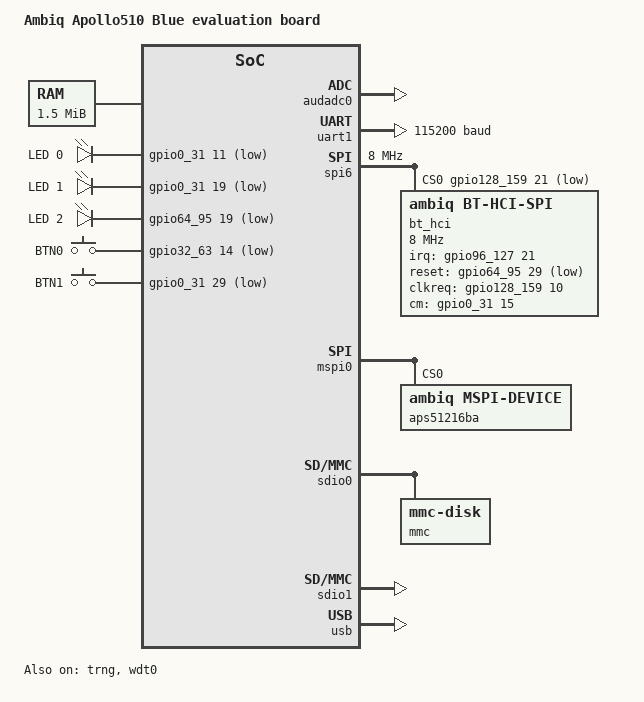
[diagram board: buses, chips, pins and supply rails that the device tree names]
/*****************************************************************************
 * SPDX-FileCopyrightText: 2025 Ambiq Micro Inc.
 *
 * SPDX-License-Identifier: Apache-2.0
 ****************************************************************************
 */

/dts-v1/;
#include <ambiq/ambiq_apollo510b.dtsi>
#include "apollo510b_evb-pinctrl.dtsi"
#include <zephyr/dt-bindings/input/input-event-codes.h>

/ {
	model = "Ambiq Apollo510 Blue evaluation board";
	compatible = "ambiq,apollo510b_evb";

	chosen {
		zephyr,itcm = &itcm;
		zephyr,dtcm = &dtcm;
		zephyr,sram = &sram0;
		zephyr,flash-controller = &flash;
		zephyr,flash = &flash0;
		zephyr,code-partition = &slot0_partition;
		zephyr,console = &uart1;
		zephyr,uart-mcumgr = &uart1;
		zephyr,shell-uart = &uart1;
		zephyr,uart-pipe = &uart1;
		zephyr,entropy = &trng;
		ambiq,xo32m = &xo32m_xtal;
		ambiq,xo32k = &xo32k_xtal;
		ambiq,extrefclk = &extrefclk;
		zephyr,bt-hci = &bt_hci;
		ambiq,psram = &aps51216ba;
		ambiq,external-ram-region = &xip0;
	};

	aliases {
		watchdog0 = &wdt0;
		led0 = &led0;
		led1 = &led1;
		led2 = &led2;
		sw0 = &button0;
		sw1 = &button1;
		pwm-led0 = &pwm_led0;
		sdhc0 = &sdio0;
	};

	sram0: memory@SSRAM_BASE_NAME {
		compatible = "mmio-sram";
		reg = <SSRAM_BASE_ADDR 0x180000>;
	};

	sram_no_cache: memory@20200000 {
		compatible = "zephyr,memory-region", "mmio-sram";
		reg = <0x20200000 0x180000>;
		zephyr,memory-region = "SRAM_NO_CACHE";
		zephyr,memory-attr = <DT_MEM_ARM(ATTR_MPU_RAM_NOCACHE)>;
	};

	leds {
		compatible = "gpio-leds";

		led0: led_0 {
			gpios = <&gpio0_31 11 GPIO_ACTIVE_LOW>;
			label = "LED 0";
		};

		led1: led_1 {
			gpios = <&gpio0_31 19 GPIO_ACTIVE_LOW>;
			label = "LED 1";
		};

		led2: led_2 {
			gpios = <&gpio64_95 19 GPIO_ACTIVE_LOW>;
			label = "LED 2";
		};
	};

	buttons {
		compatible = "gpio-keys";
		polling-mode;

		button0: button_0 {
			gpios = <&gpio32_63 14 (GPIO_PULL_UP | GPIO_ACTIVE_LOW)>;
			label = "BTN0";
			zephyr,code = <INPUT_KEY_0>;
			status = "okay";
		};

		button1: button_1 {
			gpios = <&gpio0_31 29 (GPIO_PULL_UP | GPIO_ACTIVE_LOW)>;
			label = "BTN1";
			zephyr,code = <INPUT_KEY_1>;
			status = "okay";
		};
	};

	pwmleds: pwmleds {
		compatible = "pwm-leds";
		status = "disabled";

		pwm_led0: pwm_led_0 {
			pwms = <&pwm2 0 PWM_MSEC(20) PWM_POLARITY_NORMAL>;
			label = "PWM_LED";
		};
	};
};

&pdm0 {
	pinctrl-0 = <&pdm0_default>;
	pinctrl-names = "default";
	status = "disabled";
};

&audadc0 {
	status = "okay";
};

&i2s0 {
	pinctrl-0 = <&i2s0_default>;
	pinctrl-names = "default";
	status = "disabled";
};

&i2s1 {
	pinctrl-0 = <&i2s1_default>;
	pinctrl-names = "default";
	status = "disabled";
};

&adc0 {
	pinctrl-0 = <&adc0_default>;
	pinctrl-names = "default";
	status = "disabled";
};

&trng {
	status = "okay";
};

&xo32m_xtal {
	clock-frequency = <DT_FREQ_M(48)>;
};

&itm {
	pinctrl-0 = <&swo_default>;
	pinctrl-names = "default";
};

&uart1 {
	current-speed = <115200>;
	pinctrl-0 = <&uart1_default>;
	pinctrl-1 = <&uart1_sleep>;
	pinctrl-names = "default", "sleep";
	status = "okay";
};

&stimer0 {
	clk-source = <3>;
};

&timer0 {
	counter0: counter {
		status = "disabled";
	};
};

&timer2 {
	pwm2: pwm {
		pinctrl-0 = <&pwm2_default>;
		pinctrl-names = "default";
		status = "disabled";
	};
};

&rtc0 {
	status = "disabled";
	clock = "XTAL";
};

&wdt0 {
	status = "okay";
};

&iom6 {
	spi6: spi {
		pinctrl-0 = <&spi6_default>;
		pinctrl-names = "default";
		clock-frequency = <DT_FREQ_M(8)>;
		cs-gpios = <&gpio128_159 21 (GPIO_ACTIVE_LOW | GPIO_PULL_UP)>;
		status = "okay";

		bt_hci: bt-hci@0 {
			compatible = "ambiq,bt-hci-spi";
			reg = <0>;
			spi-max-frequency = <DT_FREQ_M(8)>;
			irq-gpios = <&gpio96_127 21 GPIO_ACTIVE_HIGH>;
			reset-gpios = <&gpio64_95 29 GPIO_ACTIVE_LOW>;
			clkreq-gpios = <&gpio128_159 10 GPIO_ACTIVE_HIGH>;
			cm-gpios = <&gpio0_31 15 GPIO_ACTIVE_HIGH>;
			status = "okay";
		};
	};
};

&mspi0 {
	pinctrl-0 = <&mspi0_default>;
	pinctrl-1 = <&mspi0_sleep>;
	pinctrl-2 = <&mspi0_psram>;
	pinctrl-names = "default", "sleep", "psram";
	status = "okay";
	zephyr,pm-device-runtime-auto;

	ce-gpios = <&gpio192_223 7 GPIO_ACTIVE_LOW>;

	cmdq-buffer-location = "SRAM_NO_CACHE";
	cmdq-buffer-size = <256>;

	ambiq,apmemory;

	dqs-support;

	aps51216ba: aps_z8@0 {
		compatible = "ambiq,mspi-device", "mspi-aps-z8";
		size = <DT_SIZE_M(512)>;
		reg = <0>;
		status = "okay";
		mspi-max-frequency = <125000000>;
		mspi-io-mode = "MSPI_IO_MODE_HEX_8_8_16";
		mspi-data-rate = "MSPI_DATA_RATE_S_D_D";
		mspi-hardware-ce-num = <0>;
		mspi-dqs-enable;
		read-command = <0x20>;
		write-command = <0xA0>;
		command-length = "INSTR_1_BYTE";
		address-length = "ADDR_4_BYTE";
		rx-dummy = <7>;
		tx-dummy = <8>;
		xip-config = <1 0 DT_SIZE_M(64) 0>;
		ce-break-config = <1024 4>;
		ambiq,timing-config-mask = <0x62>;
		ambiq,timing-config = <8 7 1 0 0 3 10>;
		zephyr,pm-device-runtime-auto;
	};
};

&sdio0 {
	pinctrl-0 = <&sdio0_default>;
	pinctrl-names = "default";
	txdelay = <0>;
	rxdelay = <0>;
	status = "okay";

	mmc {
		compatible = "zephyr,mmc-disk";
		disk-name = "SD2";
		status = "okay";
	};
};

&sdio1 {
	pinctrl-0 = <&sdio1_default>;
	pinctrl-names = "default";
	txdelay = <9>;
	rxdelay = <11>;
	status = "okay";
};

zephyr_udc0: &usb {
	vddusb33-gpios = <&gpio32_63 15 GPIO_PULL_UP>;
	vddusb0p9-gpios = <&gpio32_63 16 GPIO_PULL_UP>;
	status = "okay";
};

&flash0 {
	// By default, the flash write block size is 16 bytes, But if the cache is enabled,
	// the write block size needs to be 32 bytes to match the cache line size.
	write-block-size = <32>;

	partitions {
		compatible = "fixed-partitions";
		#address-cells = <1>;
		#size-cells = <1>;

		boot_partition: partition@0 {
			label = "mcuboot";
			reg = <0x00000000 DT_SIZE_K(256)>;
		};

		slot0_partition: partition@40000 {
			label = "image-0";
			reg = <0x40000 DT_SIZE_K(1024)>;
		};

		slot1_partition: partition@140000 {
			label = "image-1";
			reg = <0x140000 DT_SIZE_K(1024)>;
		};

		scratch_partition: partition@240000 {
			label = "image-scratch";
			reg = <0x240000 DT_SIZE_K(32)>;
		};

		storage_partition: partition@248000 {
			label = "storage";
			reg = <0x248000 DT_SIZE_K(32)>;
		};
	};
};

&gpio0_31 {
	status = "okay";
};

&gpio32_63 {
	status = "okay";
};

&gpio64_95 {
	status = "okay";
};

&gpio96_127 {
	status = "okay";
};

&gpio128_159 {
	status = "okay";
};

&gpio160_191 {
	status = "okay";
};

&gpio192_223 {
	status = "okay";
};
